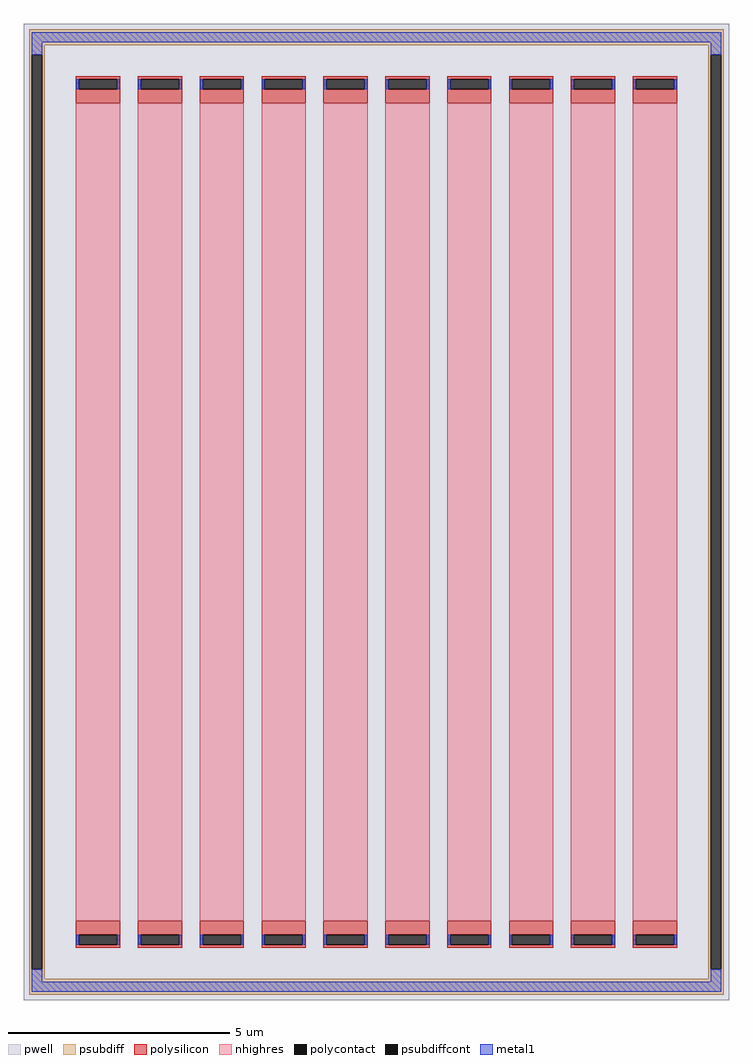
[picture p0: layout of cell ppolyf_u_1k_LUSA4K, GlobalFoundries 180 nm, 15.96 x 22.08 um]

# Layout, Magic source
magic
tech gf180mcuD
magscale 1 10
<< pwell >>
rect -1596 -2208 1596 2208
<< psubdiff >>
rect -1572 2112 1572 2184
rect -1572 2068 -1500 2112
rect -1572 -2068 -1559 2068
rect -1513 -2068 -1500 2068
rect 1500 2068 1572 2112
rect -1572 -2112 -1500 -2068
rect 1500 -2068 1513 2068
rect 1559 -2068 1572 2068
rect 1500 -2112 1572 -2068
rect -1572 -2184 1572 -2112
<< psubdiffcont >>
rect -1559 -2068 -1513 2068
rect 1513 -2068 1559 2068
<< polysilicon >>
rect -1360 1959 -1160 1972
rect -1360 1913 -1347 1959
rect -1173 1913 -1160 1959
rect -1360 1850 -1160 1913
rect -1360 -1913 -1160 -1850
rect -1360 -1959 -1347 -1913
rect -1173 -1959 -1160 -1913
rect -1360 -1972 -1160 -1959
rect -1080 1959 -880 1972
rect -1080 1913 -1067 1959
rect -893 1913 -880 1959
rect -1080 1850 -880 1913
rect -1080 -1913 -880 -1850
rect -1080 -1959 -1067 -1913
rect -893 -1959 -880 -1913
rect -1080 -1972 -880 -1959
rect -800 1959 -600 1972
rect -800 1913 -787 1959
rect -613 1913 -600 1959
rect -800 1850 -600 1913
rect -800 -1913 -600 -1850
rect -800 -1959 -787 -1913
rect -613 -1959 -600 -1913
rect -800 -1972 -600 -1959
rect -520 1959 -320 1972
rect -520 1913 -507 1959
rect -333 1913 -320 1959
rect -520 1850 -320 1913
rect -520 -1913 -320 -1850
rect -520 -1959 -507 -1913
rect -333 -1959 -320 -1913
rect -520 -1972 -320 -1959
rect -240 1959 -40 1972
rect -240 1913 -227 1959
rect -53 1913 -40 1959
rect -240 1850 -40 1913
rect -240 -1913 -40 -1850
rect -240 -1959 -227 -1913
rect -53 -1959 -40 -1913
rect -240 -1972 -40 -1959
rect 40 1959 240 1972
rect 40 1913 53 1959
rect 227 1913 240 1959
rect 40 1850 240 1913
rect 40 -1913 240 -1850
rect 40 -1959 53 -1913
rect 227 -1959 240 -1913
rect 40 -1972 240 -1959
rect 320 1959 520 1972
rect 320 1913 333 1959
rect 507 1913 520 1959
rect 320 1850 520 1913
rect 320 -1913 520 -1850
rect 320 -1959 333 -1913
rect 507 -1959 520 -1913
rect 320 -1972 520 -1959
rect 600 1959 800 1972
rect 600 1913 613 1959
rect 787 1913 800 1959
rect 600 1850 800 1913
rect 600 -1913 800 -1850
rect 600 -1959 613 -1913
rect 787 -1959 800 -1913
rect 600 -1972 800 -1959
rect 880 1959 1080 1972
rect 880 1913 893 1959
rect 1067 1913 1080 1959
rect 880 1850 1080 1913
rect 880 -1913 1080 -1850
rect 880 -1959 893 -1913
rect 1067 -1959 1080 -1913
rect 880 -1972 1080 -1959
rect 1160 1959 1360 1972
rect 1160 1913 1173 1959
rect 1347 1913 1360 1959
rect 1160 1850 1360 1913
rect 1160 -1913 1360 -1850
rect 1160 -1959 1173 -1913
rect 1347 -1959 1360 -1913
rect 1160 -1972 1360 -1959
<< polycontact >>
rect -1347 1913 -1173 1959
rect -1347 -1959 -1173 -1913
rect -1067 1913 -893 1959
rect -1067 -1959 -893 -1913
rect -787 1913 -613 1959
rect -787 -1959 -613 -1913
rect -507 1913 -333 1959
rect -507 -1959 -333 -1913
rect -227 1913 -53 1959
rect -227 -1959 -53 -1913
rect 53 1913 227 1959
rect 53 -1959 227 -1913
rect 333 1913 507 1959
rect 333 -1959 507 -1913
rect 613 1913 787 1959
rect 613 -1959 787 -1913
rect 893 1913 1067 1959
rect 893 -1959 1067 -1913
rect 1173 1913 1347 1959
rect 1173 -1959 1347 -1913
<< nhighres >>
rect -1360 -1850 -1160 1850
rect -1080 -1850 -880 1850
rect -800 -1850 -600 1850
rect -520 -1850 -320 1850
rect -240 -1850 -40 1850
rect 40 -1850 240 1850
rect 320 -1850 520 1850
rect 600 -1850 800 1850
rect 880 -1850 1080 1850
rect 1160 -1850 1360 1850
<< metal1 >>
rect -1559 2125 1559 2171
rect -1559 2068 -1513 2125
rect 1513 2068 1559 2125
rect -1358 1913 -1347 1959
rect -1173 1913 -1162 1959
rect -1078 1913 -1067 1959
rect -893 1913 -882 1959
rect -798 1913 -787 1959
rect -613 1913 -602 1959
rect -518 1913 -507 1959
rect -333 1913 -322 1959
rect -238 1913 -227 1959
rect -53 1913 -42 1959
rect 42 1913 53 1959
rect 227 1913 238 1959
rect 322 1913 333 1959
rect 507 1913 518 1959
rect 602 1913 613 1959
rect 787 1913 798 1959
rect 882 1913 893 1959
rect 1067 1913 1078 1959
rect 1162 1913 1173 1959
rect 1347 1913 1358 1959
rect -1358 -1959 -1347 -1913
rect -1173 -1959 -1162 -1913
rect -1078 -1959 -1067 -1913
rect -893 -1959 -882 -1913
rect -798 -1959 -787 -1913
rect -613 -1959 -602 -1913
rect -518 -1959 -507 -1913
rect -333 -1959 -322 -1913
rect -238 -1959 -227 -1913
rect -53 -1959 -42 -1913
rect 42 -1959 53 -1913
rect 227 -1959 238 -1913
rect 322 -1959 333 -1913
rect 507 -1959 518 -1913
rect 602 -1959 613 -1913
rect 787 -1959 798 -1913
rect 882 -1959 893 -1913
rect 1067 -1959 1078 -1913
rect 1162 -1959 1173 -1913
rect 1347 -1959 1358 -1913
rect -1559 -2125 -1513 -2068
rect 1513 -2125 1559 -2068
rect -1559 -2171 1559 -2125
<< properties >>
string FIXED_BBOX -1536 -2148 1536 2148
string gencell ppolyf_u_1k
string library gf180mcu
string parameters w 1.0 l 18.5 m 1 nx 10 wmin 1.000 lmin 1.000 class resistor rho 1000 val 18.5k dummy 0 dw 0.0 term 0.0 sterm 0.0 caplen 0.4 snake 0 glc 1 grc 1 gtc 0 gbc 0 roverlap 0 endcov 100 full_metal 1 compatible {ppolyf_u_1k ppolyf_u_1k_6p0}
<< end >>
